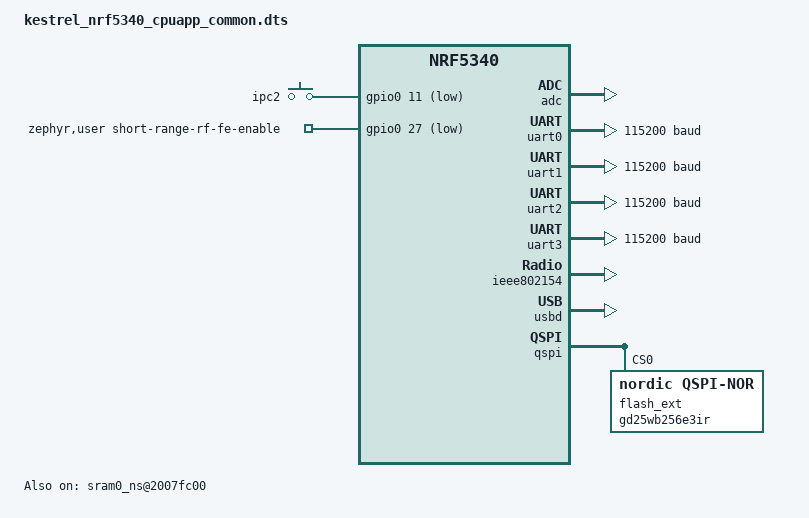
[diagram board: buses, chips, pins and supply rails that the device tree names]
/*
 * Copyright (c) 2024 Nordic Semiconductor
 * SPDX-License-Identifier: LicenseRef-Nordic-5-Clause
 */

#include "kestrel_nrf5340_cpuapp_common-pinctrl.dtsi"
#include "kestrel_common.dtsi"
/ {

	

	chosen {
		zephyr,console = &cdc_acm_uart2;
		zephyr,shell-uart = &cdc_acm_uart2;
		zephyr,uart-mcumgr = &cdc_acm_uart2;
		zephyr,bt-mon-uart = &cdc_acm_uart2;
		zephyr,bt-c2h-uart = &cdc_acm_uart2;
		zephyr,bt-hci-ipc = &ipc0;
		nordic,pm-ext-flash = &flash_ext;
		nordic,802154-spinel-ipc = &ipc0;
		zephyr,ieee802154 = &ieee802154;
	};

	buttons {
		compatible = "gpio-keys";
		button0: button_0 {
			gpios = <&gpio0 11 (GPIO_ACTIVE_LOW)>;
			label = "ipc2";
		};
	};

	zephyr,user {
		short-range-rf-fe-enable-gpios = <&gpio0 27 GPIO_ACTIVE_LOW>;
	};


	aliases {
		sw0 = &button0;
		mcuboot-button0 = &button0;
		watchdog0 = &wdt0;
	};
};



&adc {
	status = "okay";
};



&gpiote {
	status = "okay";
};

&gpio0 {
	status = "okay";
};

&gpio1 {
	status = "okay";
};


&uart0 {
	status = "okay";
	compatible = "nordic,nrf-uarte";
	current-speed = <115200>;
	pinctrl-0 = <&uart0_default>;
	pinctrl-1 = <&uart0_sleep>;
	pinctrl-names = "default", "sleep";
};

&uart1 {
	status = "okay";
	compatible = "nordic,nrf-uarte";
	current-speed = <115200>;
	pinctrl-0 = <&uart1_default>;
	pinctrl-1 = <&uart1_sleep>;
	pinctrl-names = "default", "sleep";
};

&uart2 {
	status = "okay";
	compatible = "nordic,nrf-uarte";
	current-speed = <115200>;
	pinctrl-0 = <&uart2_default>;
	pinctrl-1 = <&uart2_sleep>;
	pinctrl-names = "default", "sleep";
};

&uart3 {
	status = "okay";
	compatible = "nordic,nrf-uarte";
	current-speed = <115200>;
	pinctrl-0 = <&uart3_default>;
	pinctrl-1 = <&uart3_sleep>;
	pinctrl-names = "default", "sleep";
};

/* Include default memory partition configuration file. */
/* This is not the layout that's actually used! It's overridden by Partition Manager. */
#include <common/nordic/nrf5340_cpuapp_partition.dtsi>

&ieee802154 {
	status = "okay";
};

zephyr_udc0: &usbd {
	compatible = "nordic,nrf-usbd";
	status = "okay";

	cdc_acm_uart0: cdc_acm_uart0 {
		compatible = "zephyr,cdc-acm-uart";
	};
	cdc_acm_uart1: cdc_acm_uart1 {
		compatible = "zephyr,cdc-acm-uart";
	};

	cdc_acm_uart2: cdc_acm_uart2 {
		compatible = "zephyr,cdc-acm-uart";
	};

};

/ {
	sram0_ns@2007fc00 {
		compatible = "zephyr,memory-region", "mmio-sram";
		reg = <0x2007fc00 DT_SIZE_K(1)>;
		zephyr,memory-region = "RetainedMem";
		status = "okay";

		retainedmem {
			compatible = "zephyr,retained-ram";
			status = "okay";
			#address-cells = <1>;
			#size-cells = <1>;

			boot_mode0: boot_mode@0 {
				compatible = "zephyr,retention";
				status = "okay";
				reg = <0x0 0x100>;
				prefix = [08 04];
				checksum = <1>;
			};
		};
	};

	rtt0: rtt_chan0 {
		compatible = "segger,rtt-uart";
		status = "okay";
	};

	chosen {
		zephyr,boot-mode = &boot_mode0;
		zephyr,console = &rtt0;
		zephyr,shell-uart = &rtt0;
		zephyr,uart-mcumgr = &rtt0;
		zephyr,bt-mon-uart = &rtt0;
		zephyr,bt-c2h-uart = &rtt0;
	};
};

&qspi {
	status = "okay";
	pinctrl-0 = <&qspi_default>;
	pinctrl-1 = <&qspi_sleep>;
	pinctrl-names = "default", "sleep";

	// flash_ext: gd25wb256e3ir@0 {
	// 	compatible = "nordic,qspi-nor";
	// 	status = "okay";
	// 	reg = <0>;
		
	// 	readoc = "fastread";   
	// 	writeoc = "pp";        
	// 	address-size-32;
	// 	sck-frequency= <8000000>;
	// 	size = <268435456>;
	// 	has-dpd;
	// 	t-enter-dpd = <3000>;
	// 	t-exit-dpd = <40000>;
	// 	sfdp-bfp = [
	// 		e5 20 f3 ff  ff ff ff 0f  44 eb 08 6b  08 3b 42 bb
	// 		ee ff ff ff  ff ff 00 ff  ff ff 00 ff  0c 20 0f 52
	// 		10 d8 00 ff  44 7a c9 fe  83 67 26 62  ec 82 18 44
	// 		7a 75 7a 75  04 c4 d5 5c  00 06 74 00  08 50 00 01
	// 		];
	// 	jedec-id = [c8 65 19];
	// };

	flash_ext: gd25wb256e3ir@0 {
		compatible = "nordic,qspi-nor";
		status = "okay";
		reg = <0>;
		
		readoc = "fastread";   
		writeoc = "pp";        
		address-size-32;
		sck-frequency= <8000000>;
		size = <268435456>;
		has-dpd;
		t-enter-dpd = <3000>;
		t-exit-dpd = <40000>;
		sfdp-bfp = [
			e5 20 f3 ff  ff ff ff 0f  44 eb 08 6b  08 3b 42 bb
			ee ff ff ff  ff ff 00 ff  ff ff 00 ff  0c 20 0f 52
			10 d8 00 ff  44 7a c9 fe  83 67 26 62  ec 82 18 44
			7a 75 7a 75  04 c4 d5 5c  00 06 74 00  08 50 00 01
			];
		jedec-id = [c8 40 19];
	};
	
	// flash_ext: s25fl256s@0 {
	// 	compatible = "nordic,qspi-nor";
	// 	status = "disabled";
	// 	reg = <0>;
	// 	readoc = "fastread";   
	// 	writeoc = "pp";        
	// 	address-size-32;
	// 	sck-frequency= <8000000>;
	// 	size = <268435456>;
	// 	jedec-id = [01 02 19];
	// 	//use-4b-addr-opcodes;
	// };
};

&flash_ext {
	status = "okay";
};

&spi3 {
	cs-gpios = 
		<&gpio0 21 GPIO_ACTIVE_LOW>, 
		<&gpio0 16 GPIO_ACTIVE_LOW>;
};
&spi2 {
	cs-gpios = 
		<&gpio1 4 GPIO_ACTIVE_LOW>, 
		<&gpio1 9 GPIO_ACTIVE_LOW>;  
};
